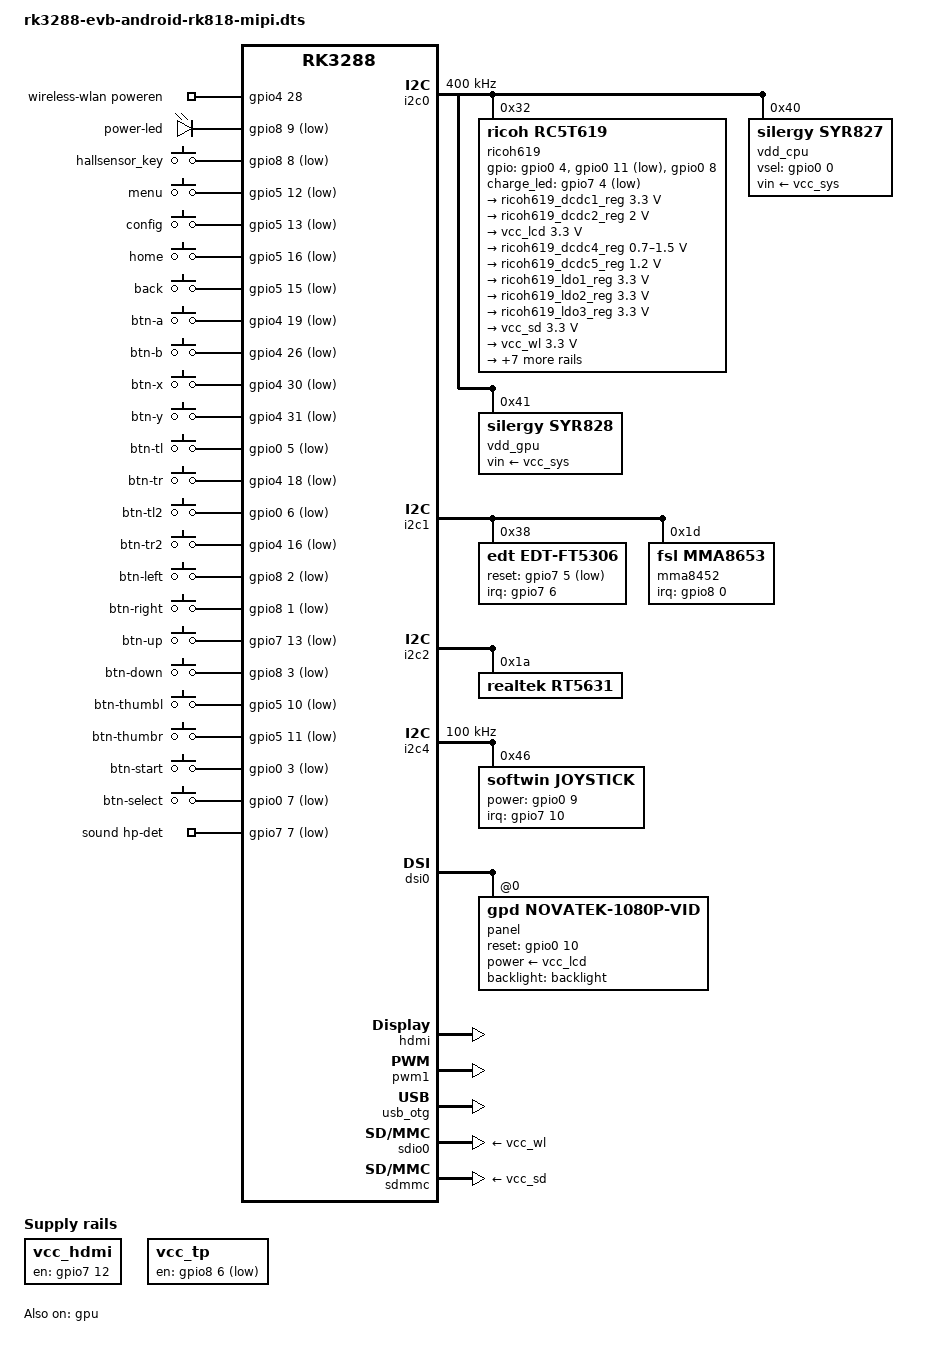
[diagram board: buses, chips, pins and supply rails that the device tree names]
/*
 * Copyright (c) 2017 Fuzhou Rockchip Electronics Co., Ltd
 *
 * This file is dual-licensed: you can use it either under the terms
 * of the GPL or the X11 license, at your option. Note that this dual
 * licensing only applies to this file, and not this project as a
 * whole.
 *
 *  a) This file is free software; you can redistribute it and/or
 *     modify it under the terms of the GNU General Public License as
 *     published by the Free Software Foundation; either version 2 of the
 *     License, or (at your option) any later version.
 *
 *     This file is distributed in the hope that it will be useful,
 *     but WITHOUT ANY WARRANTY; without even the implied warranty of
 *     MERCHANTABILITY or FITNESS FOR A PARTICULAR PURPOSE.  See the
 *     GNU General Public License for more details.
 *
 * Or, alternatively,
 *
 *  b) Permission is hereby granted, free of charge, to any person
 *     obtaining a copy of this software and associated documentation
 *     files (the "Software"), to deal in the Software without
 *     restriction, including without limitation the rights to use,
 *     copy, modify, merge, publish, distribute, sublicense, and/or
 *     sell copies of the Software, and to permit persons to whom the
 *     Software is furnished to do so, subject to the following
 *     conditions:
 *
 *     The above copyright notice and this permission notice shall be
 *     included in all copies or substantial portions of the Software.
 *
 *     THE SOFTWARE IS PROVIDED "AS IS", WITHOUT WARRANTY OF ANY KIND,
 *     EXPRESS OR IMPLIED, INCLUDING BUT NOT LIMITED TO THE WARRANTIES
 *     OF MERCHANTABILITY, FITNESS FOR A PARTICULAR PURPOSE AND
 *     NONINFRINGEMENT. IN NO EVENT SHALL THE AUTHORS OR COPYRIGHT
 *     HOLDERS BE LIABLE FOR ANY CLAIM, DAMAGES OR OTHER LIABILITY,
 *     WHETHER IN AN ACTION OF CONTRACT, TORT OR OTHERWISE, ARISING
 *     FROM, OUT OF OR IN CONNECTION WITH THE SOFTWARE OR THE USE OR
 *     OTHER DEALINGS IN THE SOFTWARE.
 */

/dts-v1/;
#include <dt-bindings/input/input.h>
#include "rk3288-evb.dtsi"
#include "rk3288-android.dtsi"

/ {
	compatible = "rockchip,rk3288-evb-android-rk818", "rockchip,rk3288";

	/delete-node/ vcc-phy-regulator;
	/delete-node/ vcc-3g-regulator;
	/delete-node/ sdmmc-regulator;
	/delete-node/ wireless-bluetooth;

	wireless-wlan {
		/delete-property/ WIFI,host_wake_irq;
		compatible = "wlan-platdata";
		rockchip,grf = <&grf>;
		wifi_chip_type = "esp8089";
		sdio_vref = <3300>;
		WIFI,poweren_gpio = <&gpio4 28 GPIO_ACTIVE_HIGH>;
		status = "okay";
	};

        leds: gpio-leds {
                compatible = "gpio-leds";
/*

                charging {
                        gpios = <&gpio7 4 GPIO_ACTIVE_LOW>;
                        label = "charger-led";
			default-state = "off";
                };*/

                power {
                        gpios = <&gpio8 9 GPIO_ACTIVE_LOW>;
                        label = "power-led";
			default-state = "on";
                };
        };

	gpio_keys {
                compatible = "gpio-keys";
		input-name = "gpio-keys";
		status = "ok";

                hallsensor_key {
                        label = "hallsensor_key";
			gpios = <&gpio8 8 1>;
                        linux,input-type = <EV_SW>;
                        linux,code = <SW_LID>;
                        gpio-key,wakeup;
                        debounce-interval = <10>;
                };

		menu-key {
			gpios = <&gpio5 12 GPIO_ACTIVE_LOW>;
			linux,code = <KEY_MENU>;
			label = "menu";
		};

		config-key {
			gpios = <&gpio5 13 GPIO_ACTIVE_LOW>;
			linux,code = <KEY_CONFIG>;
			label = "config";
		};

		home-key {
			gpios = <&gpio5 16 GPIO_ACTIVE_LOW>;
			linux,code = <KEY_HOMEPAGE>;
			label = "home";
		};

		back-key {
			gpios = <&gpio5 15 GPIO_ACTIVE_LOW>;
			linux,code = <KEY_BACK>;
			label = "back";
		};

		/* Gamepad buttons */
		btn-a {
			gpios = <&gpio4 19 GPIO_ACTIVE_LOW>;
			linux,code = <BTN_A>;
			label = "btn-a";
		};

		btn-b {
			gpios = <&gpio4 26 GPIO_ACTIVE_LOW>;
			linux,code = <BTN_B>;
			label = "btn-b";
		};

		btn-x {
			gpios = <&gpio4 30 GPIO_ACTIVE_LOW>;
			linux,code = <BTN_X>;
			label = "btn-x";
		};

		btn-y {
			gpios = <&gpio4 31 GPIO_ACTIVE_LOW>;
			linux,code = <BTN_Y>;
			label = "btn-y";
		};

		btn-tl {
			gpios = <&gpio0 5 GPIO_ACTIVE_LOW>;
			linux,code = <BTN_TL>;
			label = "btn-tl";
		};

		btn-tr {
			gpios = <&gpio4 18 GPIO_ACTIVE_LOW>;
			linux,code = <BTN_TR>;
			label = "btn-tr";
		};

		btn-l2 {
			gpios = <&gpio0 6 GPIO_ACTIVE_LOW>;
			linux,code = <BTN_TL2>;
			label = "btn-tl2";
		};

		btn-r2 {
			gpios = <&gpio4 16 GPIO_ACTIVE_LOW>;
			linux,code = <BTN_TR2>;
			label = "btn-tr2";
		};

		btn-left {
			gpios = <&gpio8 2 GPIO_ACTIVE_LOW>;
			linux,code = <KEY_LEFT>;
			label = "btn-left";
		};

		btn-right {
			gpios = <&gpio8 1 GPIO_ACTIVE_LOW>;
			linux,code = <KEY_RIGHT>;
			label = "btn-right";
		};

		btn-up {
			gpios = <&gpio7 13 GPIO_ACTIVE_LOW>;
			linux,code = <KEY_UP>;
			label = "btn-up";
		};

		btn-down {
			gpios = <&gpio8 3 GPIO_ACTIVE_LOW>;
			linux,code = <KEY_DOWN>;
			label = "btn-down";
		};

		btn-l3 {
			gpios = <&gpio5 10 GPIO_ACTIVE_LOW>;
			linux,code = <BTN_THUMBL>;
			label = "btn-thumbl";
		};

		btn-r3 {
			gpios = <&gpio5 11 GPIO_ACTIVE_LOW>;
			linux,code = <BTN_THUMBR>;
			label = "btn-thumbr";
		};

		btn-start {
			gpios = <&gpio0 3 GPIO_ACTIVE_LOW>;
			linux,code = <BTN_START>;
			label = "btn-start";
		};

		btn-select {
			gpios = <&gpio0 7 GPIO_ACTIVE_LOW>;
			linux,code = <BTN_SELECT>;
			label = "btn-select";
		};
	};

	sdio_pwrseq: sdio-pwrseq {
		compatible = "mmc-pwrseq-simple";
		//reset-gpios = <&gpio4 28 GPIO_ACTIVE_LOW>;
	};

	vcc_hdmi: vcc-hdmi {
		compatible = "regulator-fixed";
		gpio = <&gpio7 12 GPIO_ACTIVE_HIGH>;
		enable-active-high;
		regulator-always-on;
		regulator-name = "vcc_hdmi";
	};

	vcc_tp: vcc-tp {
		compatible = "regulator-fixed";
		gpio = <&gpio8 6 GPIO_ACTIVE_HIGH>;
		regulator-always-on;
		regulator-name = "vcc_tp";
	};
};

&cpu0 {
	cpu0-supply = <&vdd_cpu>;
};

&gpu {
	status = "okay";
	mali-supply = <&vdd_gpu>;
};

&i2c0 {
	clock-frequency = <400000>;
	ricoh619: ricoh619@32 {
			compatible = "ricoh,rc5t619";
		  reg = <0x32>;
		  status = "okay";
/*
		regulators {
			DCDC1 {
				regulator-name = "vccio";
				regulator-min-microvolt = <3300000>;
				regulator-max-microvolt = <3300000>;
				regulator-always-on;
			};

			DCDC2 {
				regulator-name = "ricoh619_dcdc2";
				regulator-min-microvolt = <2000000>;
				regulator-max-microvolt = <2000000>;
				regulator-always-on;
			};

			vcc_lcd: DCDC3 {
				regulator-name = "vcc_lcd";
				regulator-min-microvolt = <3300000>;
				regulator-max-microvolt = <3300000>;
			};

			DCDC4 {
				regulator-name = "vdd_logic";
				regulator-min-microvolt = <700000>;
				regulator-max-microvolt = <1500000>;
				regulator-always-on;
			};

			DCDC5 {
				regulator-name = "vcc_ddr";
				regulator-min-microvolt = <1200000>;
				regulator-max-microvolt = <1200000>;
				regulator-always-on;
			};

			LDO1 {
				regulator-name = "vccio_pmu";
				regulator-min-microvolt = <3300000>;
				regulator-max-microvolt = <3300000>;
				regulator-always-on;
			};

			LDO2 {
				regulator-name = "ricoh619_ldo2";
				regulator-min-microvolt = <3300000>;
				regulator-max-microvolt = <3300000>;
				regulator-always-on;
			};

			LDO3 {
				regulator-name = "ricoh619_ldo3";
				regulator-min-microvolt = <3300000>;
				regulator-max-microvolt = <3300000>;
				regulator-always-on;
			};

			vcc_sd: LDO4 {
				regulator-name = "vcc_sd";
				regulator-min-microvolt = <1800000>;
				regulator-max-microvolt = <3300000>;
			};

			vcc_wl: LDO5 {
				regulator-name = "vcc_wl";
				regulator-min-microvolt = <3300000>;
				regulator-max-microvolt = <3300000>;
				regulator-always-on;
			};

			LDO6 {
				regulator-name = "ricoh619_ldo6";
				regulator-min-microvolt = <1800000>;
				regulator-max-microvolt = <1800000>;
				regulator-always-on;
			};

			LDO7 {
				regulator-name = "ricoh619_ldo7";
				regulator-min-microvolt = <1000000>;
				regulator-max-microvolt = <1000000>;
				regulator-always-on;
			};

			vccio_sd: LDO8 {
				regulator-name = "vccio_sd";
				regulator-min-microvolt = <1800000>;
				regulator-max-microvolt = <3300000>;
			};

			LDO9 {
				regulator-name = "ricoh619_ldo9";
				regulator-min-microvolt = <1000000>;
				regulator-max-microvolt = <1000000>;
				regulator-always-on;
			};

			LDO10 {
				regulator-name = "vcc_18";
				regulator-min-microvolt = <1800000>;
				regulator-max-microvolt = <1800000>;
				regulator-always-on;
			};

			LDORTC1 {
				regulator-name = "ricoh619_ldortc1";
				regulator-min-microvolt = <3300000>;
				regulator-max-microvolt = <3300000>;
				regulator-always-on;
			};

			LDORTC2 {
				regulator-name = "ricoh619_ldortc2";
				regulator-min-microvolt = <3300000>;
				regulator-max-microvolt = <3300000>;
				regulator-always-on;
			};
		};
*/
	  };

	vdd_cpu: syr827@40 {
		compatible = "silergy,syr827";
		reg = <0x40>;
		vin-supply = <&vcc_sys>;
		regulator-compatible = "fan53555-reg";
		pinctrl-0 = <&vsel1_gpio>;
		vsel-gpios = <&gpio0 0 GPIO_ACTIVE_HIGH>;
		regulator-name = "vdd_cpu";
		regulator-min-microvolt = <712500>;
		regulator-max-microvolt = <1500000>;
		regulator-ramp-delay = <1000>;
		fcs,suspend-voltage-selector = <1>;
		regulator-always-on;
		regulator-boot-on;
		regulator-initial-state = <3>;
		regulator-state-mem {
			regulator-off-in-suspend;
		};
	};

	vdd_gpu: syr828@40 {
		compatible = "silergy,syr828";
		reg = <0x41>;
		vin-supply = <&vcc_sys>;
		regulator-compatible = "fan53555-reg";
		regulator-name = "vdd_gpu";
		regulator-min-microvolt = <712500>;
		regulator-max-microvolt = <1500000>;
		regulator-ramp-delay = <1000>;
		fcs,suspend-voltage-selector = <1>;
		regulator-always-on;
		regulator-boot-on;
		regulator-initial-state = <3>;
		regulator-state-mem {
			regulator-off-in-suspend;
		};
	};

};

/include/ "ricoh619.dtsi"
&ricoh619 {
	gpios =<&gpio0 4 GPIO_ACTIVE_HIGH>,<&gpio0 11 GPIO_ACTIVE_LOW>,<&gpio0 8 GPIO_ACTIVE_HIGH>;
	charge_led =<&gpio7 4 GPIO_ACTIVE_LOW>;
	ricoh619,system-power-controller;
	
	regulators {
		ricoh619_dcdc1_reg: regulator@0 {
			regulator-name = "vccio";
			regulator-min-microvolt = <3300000>;
			regulator-max-microvolt = <3300000>;
			regulator-initial-mode = <0x1>;
			regulator-initial-state = <3>;
			regulator-always-on;
			regulator-state-mem {
				regulator-state-mode = <0x1>;
				regulator-state-enabled;
				regulator-state-uv = <2800000>;
			};	
		};
		ricoh619_dcdc2_reg: regulator@1 {
			regulator-name = "ricoh619_dcdc2";
			regulator-min-microvolt = <2000000>;
			regulator-max-microvolt = <2000000>;
			regulator-initial-mode = <0x2>;
			regulator-initial-state = <3>;
			regulator-always-on;
			regulator-state-mem {
				regulator-state-mode = <0x2>;
				regulator-state-enabled;
				regulator-state-uv = <2000000>;
			};	
		};
		vcc_lcd: regulator@2 {
			regulator-name = "vcc_lcd";
			regulator-min-microvolt = <3300000>;
			regulator-max-microvolt = <3300000>;
		};
		ricoh619_dcdc4_reg: regulator@3 {
			regulator-name = "vdd_logic";
			regulator-min-microvolt = <700000>;
			regulator-max-microvolt = <1500000>;
			regulator-initial-mode = <0x2>;
			regulator-initial-state = <3>;
			regulator-always-on;
			regulator-state-mem {
				regulator-state-mode = <0x2>;
				regulator-state-enabled;
				regulator-state-uv = <900000>;
			};	
		};
		ricoh619_dcdc5_reg: regulator@4 {
			regulator-name = "vcc_ddr";
			regulator-min-microvolt = <1200000>;
			regulator-max-microvolt = <1200000>;
			regulator-initial-mode = <0x2>;
			regulator-initial-state = <3>;
			regulator-always-on;
			regulator-state-mem {
				regulator-state-mode = <0x2>;
				regulator-state-enabled;
				regulator-state-uv = <1200000>;
			};	
		};
		ricoh619_ldo1_reg: regulator@5  {
			regulator-name = "vccio_pmu";
			regulator-min-microvolt = <3300000>;
			regulator-max-microvolt = <3300000>;
			regulator-initial-state = <3>;
			regulator-always-on;
			regulator-state-mem {
				regulator-state-enabled;
				regulator-state-uv = <3300000>;
			};	
		};
		ricoh619_ldo2_reg: regulator@6  {
			regulator-name = "ricoh619_ldo2";
			regulator-min-microvolt = <3300000>;
			regulator-max-microvolt = <3300000>;
			regulator-initial-state = <3>;
			regulator-always-on;
			regulator-state-mem {
				regulator-state-enabled;
				regulator-state-uv = <3300000>;
			};
		};
		ricoh619_ldo3_reg: regulator@7  {
			regulator-name = "ricoh619_ldo3";
			regulator-min-microvolt = <3300000>;
			regulator-max-microvolt = <3300000>;
			regulator-initial-state = <3>;
			regulator-always-on;
			regulator-state-mem {
				regulator-state-enabled;
				regulator-state-uv = <3300000>;
			};
		};
		vcc_sd: regulator@8  {
			regulator-name = "vcc_sd";
			regulator-min-microvolt = <3300000>;
			regulator-max-microvolt = <3300000>;
			regulator-initial-state = <3>;
			regulator-state-mem {
				regulator-state-enabled;
				regulator-state-uv = <3300000>;
			};
		};
		vcc_wl: regulator@9  {
			regulator-name = "vcc_wl";
			regulator-min-microvolt = <3300000>;
			regulator-max-microvolt = <3300000>;
			regulator-always-on;
			regulator-state-mem {
				regulator-state-disabled;
			};
		};
		ricoh619_ldo6_reg: regulator@10  {
			regulator-name = "ricoh619_ldo6";
			regulator-min-microvolt = <1800000>;
			regulator-max-microvolt = <1800000>;
			regulator-initial-state = <3>;
			regulator-always-on;
			regulator-state-mem {
				regulator-state-enabled;
				regulator-state-uv = <1800000>;
			};
		};
		ricoh619_ldo7_reg: regulator@11  {
			regulator-name = "ricoh619_ldo7";
			regulator-min-microvolt = <1000000>;
			regulator-max-microvolt = <1000000>;
			regulator-initial-state = <3>;
			regulator-always-on;
			regulator-state-mem {
				regulator-state-enabled;
				regulator-state-uv = <1000000>;
			};
		};
		vccio_sd: regulator@12  {
			regulator-name = "ricoh619_ldo8";
			regulator-min-microvolt = <3300000>;
			regulator-max-microvolt = <3300000>;
			regulator-initial-state = <3>;
			regulator-state-mem {
				regulator-state-enabled;
				regulator-state-uv = <3300000>;
			};
		};
		ricoh619_ldo9_reg: regulator@13  {
			regulator-name = "ricoh619_ldo9";
			regulator-min-microvolt = <1000000>;
			regulator-max-microvolt = <1000000>;
			regulator-initial-state = <3>;
			regulator-always-on;
			regulator-state-mem {
				regulator-state-enabled;
				regulator-state-uv = <1000000>;
			};
		};
		ricoh619_ldo10_reg: regulator@14  {
			regulator-name = "vcc_18";
			regulator-min-microvolt = <1800000>;
			regulator-max-microvolt = <1800000>;
			regulator-initial-state = <3>;
			regulator-always-on;
			regulator-state-mem {
				regulator-state-enabled;
				regulator-state-uv = <1800000>;
			};
		};
		ricoh619_ldortc1_reg: regulator@15  {
			regulator-name = "ricoh619_ldortc1";
			regulator-min-microvolt = < 3300000>;
			regulator-max-microvolt = <3300000>;
		};
		ricoh619_ldortc2_reg: regulator@16  {
			regulator-name = "ricoh619_ldortc2";
			regulator-min-microvolt = < 3300000>;
			regulator-max-microvolt = <3300000>;
		};
	};
};

&i2c1 {
	status = "okay";
	edt-ft5306@38 {
		status = "okay";
		compatible = "edt,edt-ft5306", "edt,edt-ft5x06";
		pinctrl-names = "default";
		pinctrl-0 = <&edt_ft5306_ts_pins>;

		reg = <0x38>;

		reset-gpios = <&gpio7 5 GPIO_ACTIVE_LOW>;
		interrupt-parent = <&gpio7>;
		interrupts = <6 IRQ_TYPE_EDGE_FALLING>;

		touchscreen-size-x = <720>;
		touchscreen-size-y = <1280>;
	};


	mma8452@1d {
		compatible = "fsl,mma8653";
		reg = <0x1d>;
		interrupt-parent = <&gpio8>;
		interrupts = <0 IRQ_TYPE_EDGE_FALLING>;
	};
};

&i2c2 {
	rt5631: rt5631@1a {
		#sound-dai-cells = <0>;
		compatible = "realtek,rt5631";
		reg = <0x1a>;

		clocks = <&cru SCLK_I2S0_OUT>;
		clock-names = "mclk";

		pinctrl-names = "default";
		pinctrl-0 = <&i2s0_mclk>;
	};

	/delete-node/ rt5640@1c;
};

/ {
	/delete-node/ hdmi-analog-sound;
	/delete-node/ sound;
	sound {
		compatible = "simple-audio-card";
		simple-audio-card,name = "rockchip,rt5640-codec";
		//simple-audio-card,name = "gpd-sound-card";
		simple-audio-card,format = "i2s";
		simple-audio-card,mclk-fs = <512>;

		simple-audio-card,widgets =
			"Microphone", "Microphone Jack",
			"Headphone", "Headphone Jack";
		simple-audio-card,routing =
			"MIC1", "Microphone Jack",
			"MIC2", "Microphone Jack",
			"Headphone Jack", "HPOL",
			"Headphone Jack", "HPOR";
		simple-audio-card,hp-det-gpio = <&gpio7 7 GPIO_ACTIVE_LOW>;

/*
		simple-audio-card,dai-link@0 {
			format = "i2s";
			cpu {
				sound-dai = <&i2s>;
			};
			codec {
				sound-dai = <&rt5631>;
			};
		};

		simple-audio-card,dai-link@1 {
			format = "i2s";
			cpu {
				sound-dai = <&i2s>;
			};

			codec {
				sound-dai = <&hdmi>;
			};
		};*/
		simple-audio-card,cpu {
			sound-dai = <&i2s>;
		};
		simple-audio-card,codec {
			sound-dai = <&rt5631>;
		};
	};
};

&i2c3 {
	status = "disabled";
};

&i2c5 {
	status = "disabled";
};

&i2c4 {
	clock-frequency = <100000>;
	joystick@46 {
		compatible = "softwin,joystick";
		reg = <0x46>;
		interrupt-parent = <&gpio7>;
		interrupts = <10 IRQ_TYPE_EDGE_FALLING>;
		power-gpio = <&gpio0 9 GPIO_ACTIVE_HIGH>;

	};
	/delete-node/ gsl3673@40;
};


&backlight {
	default-brightness-level = <255>;
	pwms = <&pwm0 0 10000 PWM_POLARITY_INVERTED>;
};

&rk_key {
	/delete-node/ power-key;
	/delete-node/ menu-key;
	/delete-node/ home-key;
	/delete-node/ back-key;
	/delete-node/ camera-key;
};

&dsi0 {
	status = "okay";
	rockchip,lane-rate = <750>;

	panel: panel@0 {
		compatible = "gpd,novatek-1080p-vid";
		//compatible = "simple-panel-dsi";
		reg = <0>;
		backlight = <&backlight>;
		reset-gpios = <&gpio0 10 GPIO_ACTIVE_HIGH>;
		power-supply = <&vcc_lcd>;
		dsi,flags = <(MIPI_DSI_MODE_VIDEO | MIPI_DSI_MODE_VIDEO_BURST)>;
		dsi,mode_flags = <0>;
		dsi,format = <MIPI_DSI_FMT_RGB888>;
		dsi,lanes = <4>;

		reset-delay-ms = <20>;
		init-delay-ms = <20>;
		enable-delay-ms = <120>;
		prepare-delay-ms = <120>;
		status = "okay";

		disp_timings: display-timings {
			native-mode = <&timing0>;

			timing0: timing0 {
				clock-frequency = <60000000>;
				hactive = <720>;
				vactive = <1280>;
				hback-porch = <4>;
				hfront-porch = <10>;
				vback-porch = <8>;
				vfront-porch = <48>;
				hsync-len = <13>;
				vsync-len = <4>;
				hsync-active = <0>;
				vsync-active = <0>;
				de-active = <0>;
				pixelclk-active = <0>;
			};

		};
	};

};

&hdmi {
	status = "okay";
};

&pwm1 {
	status = "okay";
};

&tsadc {
	rockchip,hw-tshut-mode = <0>; /* tshut mode 0:CRU 1:GPIO */
	rockchip,hw-tshut-polarity = <1>; /* tshut polarity 0:LOW 1:HIGH */
	pinctrl-1 = <&otp_gpio>;
};

&pinctrl {
/*
        lcd {
                lcd_rst: lcd-rst  {
                        rockchip,pins = <0 10 RK_FUNC_GPIO &pcfg_pull_none>;
                };
        };*/

/*
	mpu6050 {
		mpu6050_irq_gpio: mpu6050-irq-gpio {
			rockchip,pins = <8 0 RK_FUNC_GPIO &pcfg_pull_none>;
		};
	};*/

	pmic {
	//	pmic_int: pmic-int {
	//		rockchip,pins = <RK_GPIO0 4 RK_FUNC_GPIO &pcfg_pull_up>;
	//	};
		vsel1_gpio: vsel1-gpio {
			rockchip,pins = <RK_GPIO0 0 RK_FUNC_GPIO &pcfg_pull_down>;
		};
	};

	edt_ft5306_ts_pins: edt_ft5306_ts_pins {
		touch_int: touch-int {
			rockchip,pins = <7 6 RK_FUNC_GPIO &pcfg_pull_up>;
		};
		reset_gpio: reset-gpio {
			rockchip,pins = <7 5 RK_FUNC_GPIO &pcfg_pull_up>;
		};
	};
};

&bl_en {
	rockchip,pins = <7 2 RK_FUNC_GPIO &pcfg_pull_down>;
};

&gmac {
	/delete-property/ phy-supply;
	status = "disabled";
};

&usb_otg {
	status = "okay";
	//rockchip,usb-mode = <2>; //Force device
};

&sdio0 {
	status = "okay";
	vmmc-supply = <&vcc_wl>;
	broken-cd;
	/delete-property/ non-removable;
	/delete-property/ mmc-pwrseq;
};

&isp {
	status = "disabled";
};

&io_domains {
	sdcard-supply = <&vccio_sd>;
	wifi-supply = <&vcc_wl>;
};

&sdmmc {
	/delete-property/ vqmmc-supply;
	/delete-property/ vmmc-supply;
	vmmc-supply = <&vcc_sd>;
	vqmmc-supply = <&vccio_sd>;
};

//Disable psci
/ {
	/delete-node/ dmc;
	/delete-node/ psci;
	/delete-node/ rockchip-suspend;

	dmc: dmc@ff610000 {
	     compatible = "rockchip,rk3288-dmc", "syscon";
	     rockchip,cru = <&cru>;
	     rockchip,grf = <&grf>;
	     rockchip,pmu = <&pmu>;
	     rockchip,sgrf = <&sgrf>;
	     rockchip,noc = <&noc>;
	     reg = <0x0 0xff610000 0x0 0x3fc
		     0x0 0xff620000 0x0 0x294
		     0x0 0xff630000 0x0 0x3fc
		     0x0 0xff640000 0x0 0x294>;
	     rockchip,sram = <&ddr_sram>;
	     clocks = <&cru PCLK_DDRUPCTL0>, <&cru PCLK_PUBL0>,
		    <&cru PCLK_DDRUPCTL1>, <&cru PCLK_PUBL1>,
		    <&cru ARMCLK>, <&cru ACLK_DMAC1>;
	     clock-names = "pclk_ddrupctl0", "pclk_publ0",
		     "pclk_ddrupctl1", "pclk_publ1",
		     "arm_clk", "aclk_dmac1";
     };

};
&cpu0 {
	/delete-property/ enable-method;
};
&cpu1 {
	/delete-property/ enable-method;
};
&cpu2 {
	/delete-property/ enable-method;
};
&cpu3 {
	/delete-property/ enable-method;
};
&efuse {
	compatible = "rockchip,rockchip-efuse";
};
